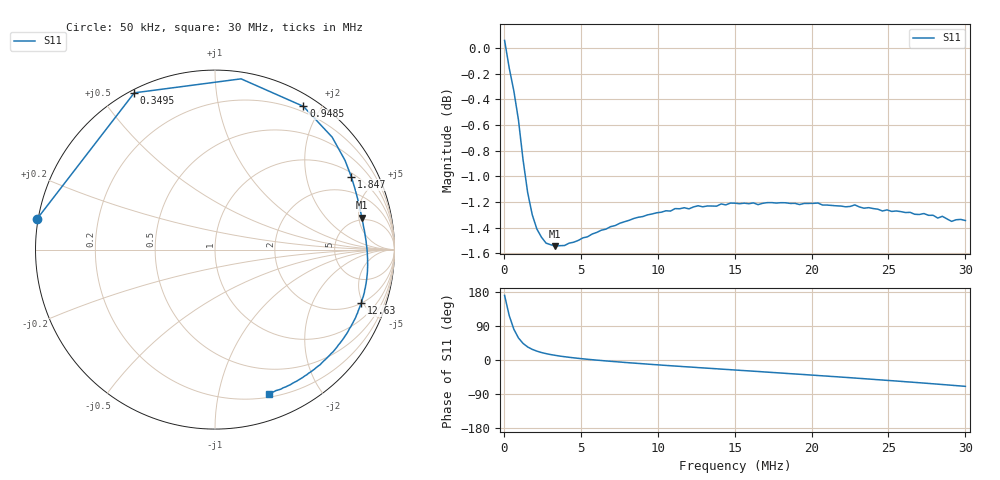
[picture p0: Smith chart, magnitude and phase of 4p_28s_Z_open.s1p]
# HZ S RI R 50
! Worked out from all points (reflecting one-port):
!   101 points, 50 kHz to 30 MHz, reference 50 ohm
!   lowest |S11| = -1.5 dB at 3.345 MHz (marker M1), VSWR 11.27, Z = 231 + j274 ohm
!   phase of S11 starts at 170 deg and turns -240 deg over the sweep
!   S11 on the Smith chart (normalised r, x): 50 kHz: -0.00, +0.08; 349.5 kHz: 0.01, +0.61; 948.5 kHz: 0.13, +1.78; 1.847 MHz: 1.17, +3.65; 12.63 MHz: 2.01, -4.85; 30 MHz: 0.23, -1.41
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50000  -0.9927 0.1691
349500  -0.4499 0.8733
649000  0.1453 0.9514
948500  0.4926 0.7979
1248000  0.653 0.6262
1547500  0.7247 0.4963
1847000  0.7598 0.4048
2146500  0.7803 0.3371
2446000  0.7944 0.2845
2745500  0.8034 0.2427
3344500  0.8179 0.1778
3943500  0.8279 0.1262
4542500  0.8358 0.0836
5441000  0.8436 0.0277
6639000  0.8491 -0.0363
7537500  0.8507 -0.0794
9334500  0.8456 -0.1616
1.1431e7  0.829 -0.2491
1.2629e7  0.8154 -0.2975
1.5025e7  0.7793 -0.3867
1.71215e7  0.738 -0.4614
1.89185e7  0.6962 -0.5215
2.0416e7  0.6576 -0.5697
2.25125e7  0.5947 -0.6315
2.43095e7  0.5324 -0.6821
2.6406e7  0.4551 -0.7331
2.85025e7  0.3674 -0.7773
3e7  0.2994 -0.8025
